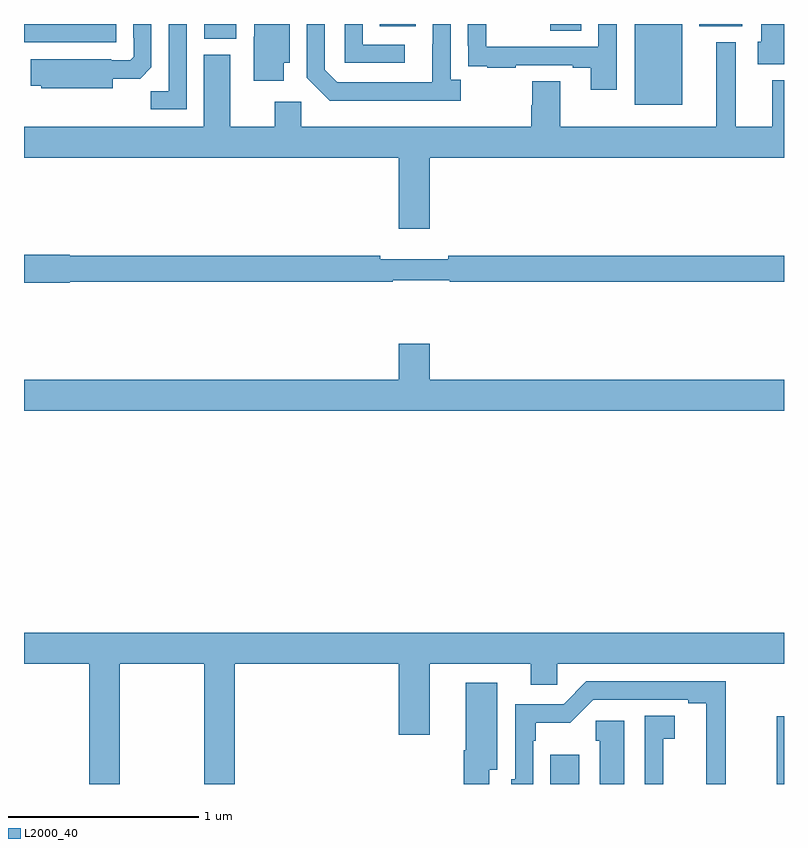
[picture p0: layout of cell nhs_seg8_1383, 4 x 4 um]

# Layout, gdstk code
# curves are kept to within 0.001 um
import gdstk
lib = gdstk.Library(unit=1e-6, precision=1e-09)
def R(c, l, rs):  # rectangles x0, y0, x1, y1
    for r in rs: c.add(gdstk.rectangle(r[:2], r[2:], *l))
def P(c, l, *ps):  # polygons
    for p in ps: c.add(gdstk.Polygon(p, *l))
L2000_40 = (2000, 40)

nhs_seg8_1383 = lib.new_cell('nhs_seg8_1383')
R(nhs_seg8_1383, L2000_40, [(201.77,1083.9,201.922,1084.054), (202.963,1083.9,203,1084.257), (202.214,1087.475,202.465,1087.9), (199.949,1087.823,200.116,1087.9), (201.77,1087.864,201.934,1087.9), (200.873,1087.889,201.061,1087.9), (202.553,1087.889,202.78,1087.9), (201.521,1087.899,201.682,1087.9)])
P(nhs_seg8_1383, L2000_40, [(199.468,1087.613),(199.612,1087.613),(199.671,1087.672),(199.671,1087.9),(199.575,1087.9),(199.575,1087.828),(199.578,1087.828),(199.578,1087.728),(199.56,1087.71),(199.46,1087.71),(199.46,1087.714),(199.036,1087.714),(199.036,1087.574),(199.092,1087.574),(199.092,1087.562),(199.468,1087.562)],
  [(201.298,1087.606),(201.246,1087.606),(201.246,1087.9),(201.15,1087.9),(201.149,1087.593),(200.649,1087.593),(200.583,1087.659),(200.583,1087.9),(200.487,1087.9),(200.487,1087.617),(200.608,1087.496),(201.298,1087.496)],
  [(203,1087.9),(202.88,1087.9),(202.88,1087.806),(202.862,1087.806),(202.862,1087.688),(203,1087.688)],
  [(202.119,1087.9),(202.023,1087.9),(202.023,1087.779),(201.432,1087.779),(201.432,1087.9),(201.336,1087.9),(201.336,1087.786),(201.337,1087.786),(201.337,1087.677),(201.439,1087.677),(201.439,1087.671),(201.587,1087.671),(201.587,1087.683),(201.887,1087.683),(201.887,1087.671),(201.983,1087.671),(201.983,1087.554),(202.119,1087.554)],
  [(199.485,1087.9),(199.389,1087.9),(199.389,1087.899),(199,1087.899),(199,1087.803),(199.485,1087.803)],
  [(200.368,1087.697),(200.398,1087.697),(200.398,1087.9),(200.211,1087.9),(200.211,1087.833),(200.21,1087.833),(200.21,1087.602),(200.368,1087.602)],
  [(201.004,1087.791),(200.784,1087.791),(200.784,1087.9),(200.688,1087.9),(200.688,1087.695),(201.004,1087.695)],
  [(199.857,1087.9),(199.761,1087.9),(199.761,1087.547),(199.666,1087.547),(199.666,1087.452),(199.857,1087.452)],
  [(201.136,1087.196),(203,1087.196),(203,1087.603),(202.937,1087.603),(202.937,1087.36),(202.747,1087.36),(202.747,1087.804),(202.643,1087.804),(202.643,1087.36),(201.823,1087.36),(201.823,1087.598),(201.676,1087.598),(201.676,1087.473),(201.671,1087.473),(201.671,1087.36),(200.46,1087.36),(200.46,1087.492),(200.321,1087.492),(200.321,1087.36),(200.086,1087.36),(200.086,1087.738),(199.946,1087.738),(199.946,1087.36),(199,1087.36),(199,1087.196),(200.972,1087.196),(200.972,1086.822),(201.136,1086.822)],
  [(199.242,1086.544),(200.942,1086.544),(200.942,1086.552),(201.242,1086.552),(201.242,1086.544),(203,1086.544),(203,1086.68),(201.232,1086.68),(201.232,1086.661),(200.876,1086.661),(200.876,1086.68),(199.242,1086.68),(199.242,1086.686),(199,1086.686),(199,1086.539),(199.242,1086.539)],
  [(203,1086.028),(201.136,1086.028),(201.136,1086.217),(200.972,1086.217),(200.972,1086.028),(199,1086.028),(199,1085.864),(203,1085.864)],
  [(199.503,1084.532),(199.948,1084.532),(199.948,1083.9),(200.108,1083.9),(200.108,1084.532),(200.972,1084.532),(200.972,1084.158),(201.136,1084.158),(201.136,1084.532),(201.668,1084.532),(201.668,1084.422),(201.807,1084.422),(201.807,1084.532),(203,1084.532),(203,1084.696),(199,1084.696),(199,1084.532),(199.343,1084.532),(199.343,1083.9),(199.503,1083.9)],
  [(201.681,1084.127),(201.694,1084.127),(201.694,1084.223),(201.875,1084.223),(201.996,1084.344),(202.496,1084.344),(202.496,1084.324),(202.592,1084.324),(202.591,1083.9),(202.694,1083.9),(202.694,1084.44),(201.96,1084.44),(201.84,1084.32),(201.585,1084.32),(201.585,1083.924),(201.564,1083.924),(201.564,1083.9),(201.681,1083.9)],
  [(201.448,1083.974),(201.49,1083.974),(201.49,1084.432),(201.326,1084.432),(201.326,1084.078),(201.314,1084.078),(201.314,1083.9),(201.448,1083.9)],
  [(202.365,1084.139),(202.426,1084.139),(202.426,1084.259),(202.266,1084.259),(202.266,1083.9),(202.365,1083.9)],
  [(202.159,1084.234),(202.009,1084.234),(202.009,1084.128),(202.031,1084.128),(202.031,1083.9),(202.159,1083.9)])

lib.write_gds('nhs_seg8_1383.gds')
